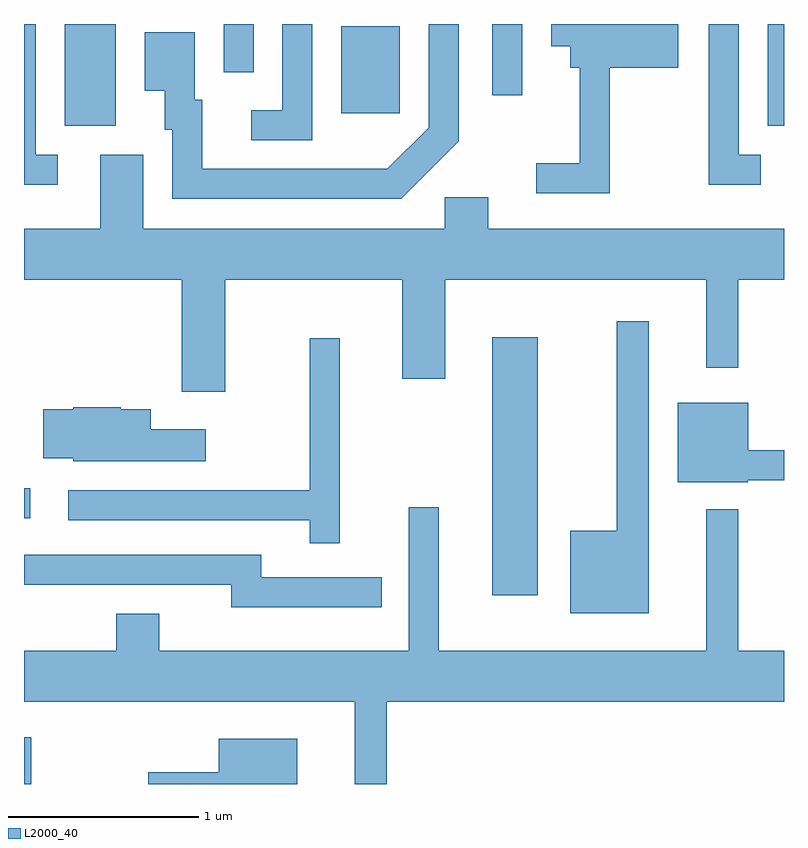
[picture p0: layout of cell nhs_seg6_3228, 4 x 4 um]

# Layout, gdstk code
import gdstk
lib = gdstk.Library(unit=1e-6, precision=1e-09)
def R(c, l, rs):  # rectangles x0, y0, x1, y1
    for r in rs: c.add(gdstk.rectangle(r[:2], r[2:], *l))
def P(c, l, *ps):  # polygons
    for p in ps: c.add(gdstk.Polygon(p, *l))
L2000_40 = (2000, 40)

nhs_seg6_3228 = lib.new_cell('nhs_seg6_3228')
R(nhs_seg6_3228, L2000_40, [(281.611,1656.162,281.649,1656.408), (284.076,1657.156,284.314,1658.514), (281.611,1657.561,281.643,1657.719), (281.826,1659.626,282.094,1660.162), (285.526,1659.626,285.611,1660.162), (283.281,1659.691,283.589,1660.149), (284.076,1659.788,284.234,1660.162), (282.661,1659.908,282.819,1660.162)])
P(nhs_seg6_3228, L2000_40, [(284.694,1659.931),(285.054,1659.931),(285.054,1660.162),(284.386,1660.162),(284.386,1660.046),(284.486,1660.046),(284.486,1659.931),(284.536,1659.931),(284.536,1659.429),(284.308,1659.429),(284.308,1659.271),(284.694,1659.271)],
  [(281.788,1659.474),(281.674,1659.474),(281.674,1660.162),(281.611,1660.162),(281.611,1659.316),(281.788,1659.316)],
  [(283.899,1659.544),(283.899,1660.162),(283.741,1660.162),(283.741,1659.617),(283.524,1659.399),(282.549,1659.399),(282.549,1659.764),(282.509,1659.764),(282.509,1660.119),(282.246,1660.119),(282.246,1659.811),(282.351,1659.811),(282.351,1659.606),(282.391,1659.606),(282.391,1659.241),(283.597,1659.241)],
  [(285.488,1659.474),(285.374,1659.474),(285.374,1660.162),(285.216,1660.162),(285.216,1659.316),(285.488,1659.316)],
  [(283.129,1660.162),(282.971,1660.162),(282.971,1659.709),(282.808,1659.709),(282.808,1659.551),(283.129,1659.551)],
  [(282.669,1658.816),(283.601,1658.816),(283.601,1658.296),(283.829,1658.296),(283.829,1658.816),(285.201,1658.816),(285.201,1658.353),(285.369,1658.353),(285.369,1658.816),(285.611,1658.816),(285.611,1659.084),(284.054,1659.084),(284.054,1659.249),(283.826,1659.249),(283.826,1659.084),(282.239,1659.084),(282.239,1659.474),(282.011,1659.474),(282.011,1659.084),(281.611,1659.084),(281.611,1658.816),(282.441,1658.816),(282.441,1658.226),(282.669,1658.226)],
  [(284.899,1658.598),(284.731,1658.598),(284.731,1657.494),(284.486,1657.494),(284.486,1657.061),(284.899,1657.061)],
  [(283.274,1658.508),(283.116,1658.508),(283.116,1657.709),(281.843,1657.709),(281.843,1657.551),(283.116,1657.551),(283.116,1657.428),(283.274,1657.428)],
  [(285.42,1657.761),(285.611,1657.761),(285.611,1657.919),(285.424,1657.919),(285.424,1658.169),(285.051,1658.169),(285.051,1657.751),(285.42,1657.751)],
  [(282.568,1658.029),(282.279,1658.029),(282.279,1658.134),(282.12,1658.134),(282.12,1658.144),(281.87,1658.144),(281.87,1658.134),(281.711,1658.134),(281.711,1657.876),(281.87,1657.876),(281.87,1657.861),(282.568,1657.861)],
  [(283.519,1656.596),(285.611,1656.596),(285.611,1656.864),(285.369,1656.864),(285.369,1657.608),(285.201,1657.608),(285.201,1656.864),(283.794,1656.864),(283.794,1657.618),(283.636,1657.618),(283.636,1656.864),(282.324,1656.864),(282.324,1657.059),(282.096,1657.059),(282.096,1656.864),(281.611,1656.864),(281.611,1656.596),(283.351,1656.596),(283.351,1656.162),(283.519,1656.162)],
  [(283.493,1657.249),(282.859,1657.249),(282.859,1657.369),(281.611,1657.369),(281.611,1657.211),(282.701,1657.211),(282.701,1657.091),(283.493,1657.091)],
  [(283.049,1656.399),(282.636,1656.399),(282.636,1656.224),(282.266,1656.224),(282.266,1656.162),(283.049,1656.162)])

lib.write_gds('nhs_seg6_3228.gds')
